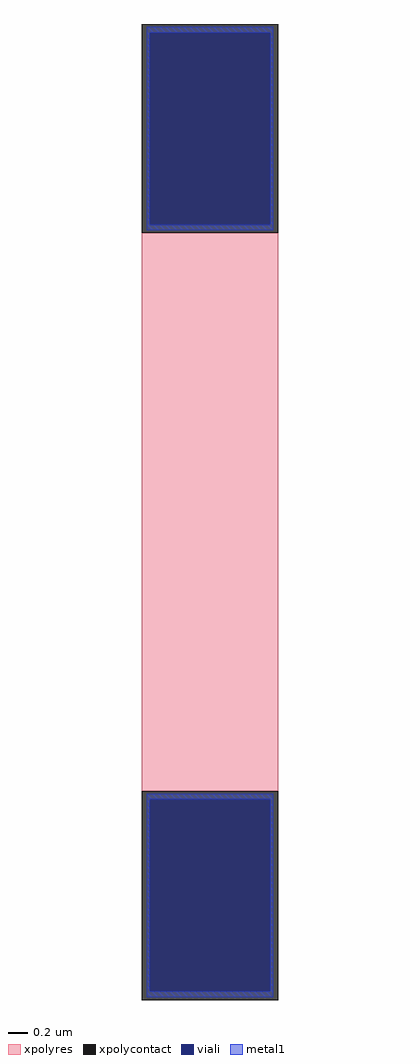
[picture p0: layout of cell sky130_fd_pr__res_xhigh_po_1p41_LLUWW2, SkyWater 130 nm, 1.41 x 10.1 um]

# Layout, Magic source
magic
tech sky130A
magscale 1 2
<< xpolycontact >>
rect -141 578 141 1010
rect -141 -1010 141 -578
<< xpolyres >>
rect -141 -578 141 578
<< viali >>
rect -125 595 125 992
rect -125 -992 125 -595
<< metal1 >>
rect -131 992 131 1004
rect -131 595 -125 992
rect 125 595 131 992
rect -131 583 131 595
rect -131 -595 131 -583
rect -131 -992 -125 -595
rect 125 -992 131 -595
rect -131 -1004 131 -992
<< properties >>
string gencell sky130_fd_pr__res_xhigh_po_1p41
string library sky130
string parameters w 1.410 l 5.935 m 1 nx 1 wmin 1.410 lmin 0.50 rho 2000 val 8.685k dummy 0 dw 0.0 term 188.2 sterm 0.0 caplen 0 wmax 1.410 guard 0 glc 1 grc 1 gtc 1 gbc 1 compatible {sky130_fd_pr__res_xhigh_po_0p35  sky130_fd_pr__res_xhigh_po_0p69 sky130_fd_pr__res_xhigh_po_1p41  sky130_fd_pr__res_xhigh_po_2p85 sky130_fd_pr__res_xhigh_po_5p73} snake 0 full_metal 1 n_guard 0 hv_guard 0 vias 1 viagb 0 viagt 0 viagl 0 viagr 0
<< end >>
